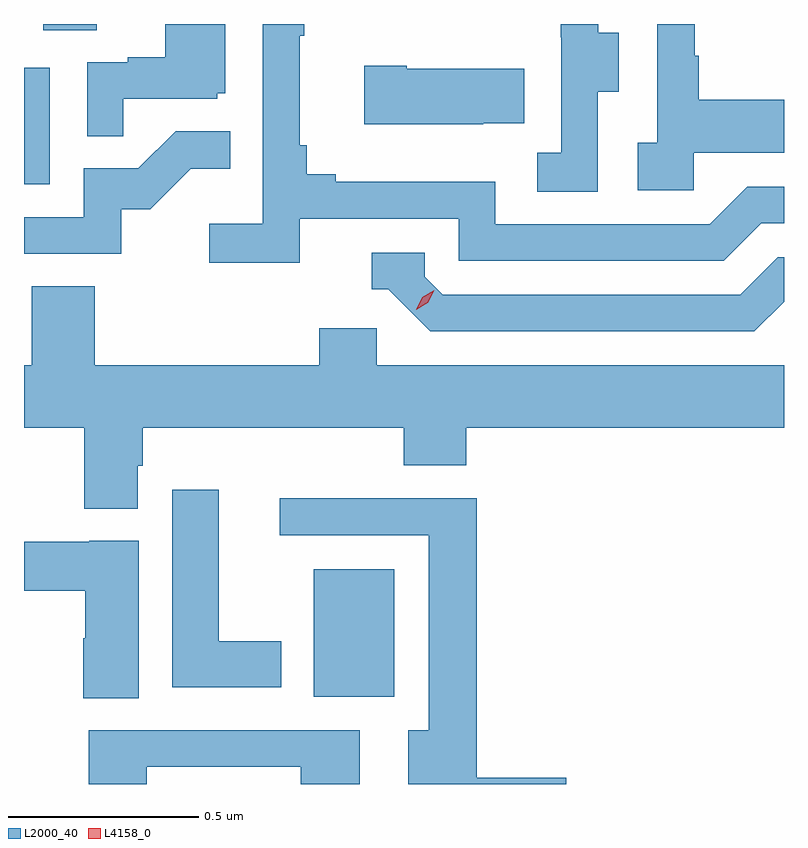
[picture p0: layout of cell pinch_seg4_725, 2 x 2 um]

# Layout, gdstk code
import gdstk
lib = gdstk.Library(unit=1e-6, precision=1e-09)
def R(c, l, rs):  # rectangles x0, y0, x1, y1
    for r in rs: c.add(gdstk.rectangle(r[:2], r[2:], *l))
def P(c, l, *ps):  # polygons
    for p in ps: c.add(gdstk.Polygon(p, *l))
L2000_40 = (2000, 40)
L4158_0 = (4158, 0)

pinch_seg4_725 = lib.new_cell('pinch_seg4_725')
R(pinch_seg4_725, L2000_40, [(839.726,822.752,839.938,823.087), (838.964,824.1,839.032,824.407), (839.015,824.506,839.155,824.522)])
P(pinch_seg4_725, L2000_40, [(839.69,824.01),(840.108,824.01),(840.108,823.899),(840.805,823.899),(840.904,823.998),(840.964,823.998),(840.964,824.094),(840.867,824.094),(840.768,823.995),(840.204,823.995),(840.204,824.107),(839.785,824.107),(839.785,824.126),(839.708,824.126),(839.708,824.203),(839.689,824.203),(839.689,824.491),(839.701,824.491),(839.701,824.522),(839.592,824.522),(839.592,823.996),(839.451,823.996),(839.451,823.894),(839.69,823.894)],
  [(840.726,824.183),(840.964,824.183),(840.964,824.323),(840.739,824.323),(840.739,824.438),(840.729,824.438),(840.729,824.522),(840.63,824.522),(840.63,824.21),(840.579,824.21),(840.579,824.085),(840.726,824.085)],
  [(840.474,824.344),(840.529,824.344),(840.529,824.499),(840.475,824.499),(840.475,824.522),(840.377,824.522),(840.377,824.487),(840.378,824.487),(840.378,824.183),(840.315,824.183),(840.315,824.08),(840.474,824.08)],
  [(839.225,824.325),(839.472,824.325),(839.472,824.34),(839.494,824.34),(839.494,824.522),(839.336,824.522),(839.336,824.434),(839.237,824.434),(839.237,824.421),(839.13,824.421),(839.13,824.227),(839.225,824.227)],
  [(840.173,824.261),(840.281,824.261),(840.281,824.404),(839.971,824.404),(839.971,824.412),(839.859,824.412),(839.859,824.258),(840.173,824.258)],
  [(839.22,824.034),(839.296,824.034),(839.403,824.141),(839.507,824.141),(839.507,824.24),(839.363,824.24),(839.265,824.142),(839.121,824.142),(839.121,824.013),(838.964,824.013),(838.964,823.917),(839.22,823.917)],
  [(840.964,823.791),(840.964,823.908),(840.948,823.908),(840.849,823.809),(840.066,823.809),(840.018,823.857),(840.018,823.92),(839.879,823.92),(839.879,823.824),(839.922,823.824),(840.033,823.713),(840.886,823.713)],
  [(839.263,823.359),(839.276,823.359),(839.276,823.46),(839.963,823.46),(839.963,823.361),(840.128,823.361),(840.128,823.46),(840.964,823.46),(840.964,823.624),(839.892,823.624),(839.892,823.722),(839.741,823.722),(839.741,823.624),(839.15,823.624),(839.15,823.832),(838.985,823.832),(838.985,823.624),(838.964,823.624),(838.964,823.46),(839.123,823.46),(839.123,823.247),(839.263,823.247)],
  [(839.641,822.898),(839.476,822.898),(839.476,823.297),(839.354,823.297),(839.354,822.776),(839.641,822.776)],
  [(840.391,822.539),(840.155,822.539),(840.155,823.274),(839.637,823.274),(839.637,823.176),(840.029,823.176),(840.029,822.664),(839.975,822.664),(839.975,822.522),(840.391,822.522)],
  [(839.266,823.162),(839.136,823.162),(839.136,823.159),(838.964,823.159),(838.964,823.03),(839.125,823.03),(839.125,822.905),(839.12,822.905),(839.12,822.748),(839.266,822.748)],
  [(839.287,822.567),(839.692,822.567),(839.692,822.522),(839.848,822.522),(839.848,822.663),(839.135,822.663),(839.135,822.522),(839.287,822.522)])
P(pinch_seg4_725, L4158_0, [(839.996,823.77),(839.996,823.77),(840.012,823.803),(840.043,823.822),(840.043,823.822),(840.043,823.822),(840.027,823.789),(839.996,823.77)])

lib.write_gds('pinch_seg4_725.gds')
